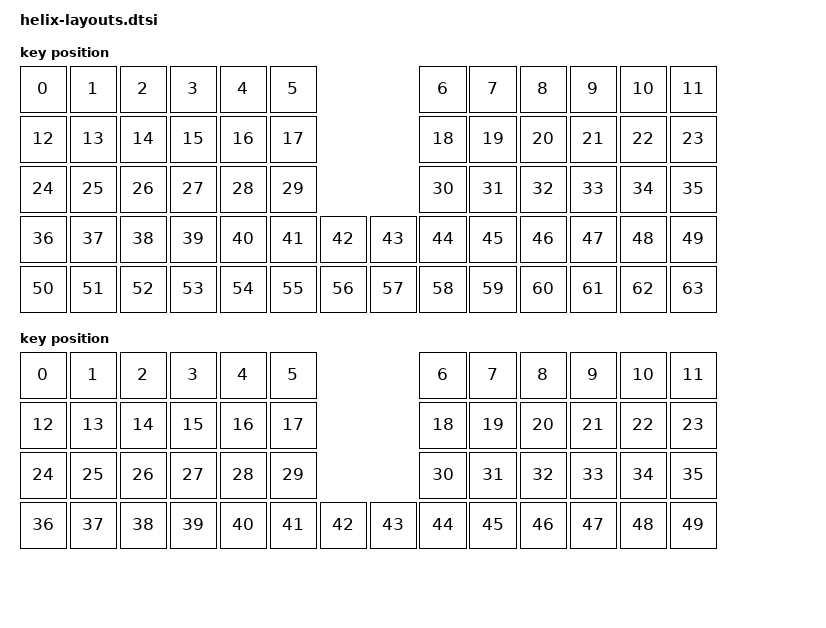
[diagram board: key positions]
#include <physical_layouts.dtsi>

/ {
     layout_0: layout_0 {
          compatible = "zmk,physical-layout";
          display-name = "LAYOUR0";
          kscan = <&kscan0>;
          transform = <&default_transform>;

          keys  //                      w   h    x    y     rot    rx    ry
               = <&key_physical_attrs 100 100    0    0       0     0     0>
               , <&key_physical_attrs 100 100  100    0       0     0     0>
               , <&key_physical_attrs 100 100  200    0       0     0     0>
               , <&key_physical_attrs 100 100  300    0       0     0     0>
               , <&key_physical_attrs 100 100  400    0       0     0     0>
               , <&key_physical_attrs 100 100  500    0       0     0     0>
               , <&key_physical_attrs 100 100  800    0       0     0     0>
               , <&key_physical_attrs 100 100  900    0       0     0     0>
               , <&key_physical_attrs 100 100 1000    0       0     0     0>
               , <&key_physical_attrs 100 100 1100    0       0     0     0>
               , <&key_physical_attrs 100 100 1200    0       0     0     0>
               , <&key_physical_attrs 100 100 1300    0       0     0     0>
               , <&key_physical_attrs 100 100    0  100       0     0     0>
               , <&key_physical_attrs 100 100  100  100       0     0     0>
               , <&key_physical_attrs 100 100  200  100       0     0     0>
               , <&key_physical_attrs 100 100  300  100       0     0     0>
               , <&key_physical_attrs 100 100  400  100       0     0     0>
               , <&key_physical_attrs 100 100  500  100       0     0     0>
               , <&key_physical_attrs 100 100  800  100       0     0     0>
               , <&key_physical_attrs 100 100  900  100       0     0     0>
               , <&key_physical_attrs 100 100 1000  100       0     0     0>
               , <&key_physical_attrs 100 100 1100  100       0     0     0>
               , <&key_physical_attrs 100 100 1200  100       0     0     0>
               , <&key_physical_attrs 100 100 1300  100       0     0     0>
               , <&key_physical_attrs 100 100    0  200       0     0     0>
               , <&key_physical_attrs 100 100  100  200       0     0     0>
               , <&key_physical_attrs 100 100  200  200       0     0     0>
               , <&key_physical_attrs 100 100  300  200       0     0     0>
               , <&key_physical_attrs 100 100  400  200       0     0     0>
               , <&key_physical_attrs 100 100  500  200       0     0     0>
               , <&key_physical_attrs 100 100  800  200       0     0     0>
               , <&key_physical_attrs 100 100  900  200       0     0     0>
               , <&key_physical_attrs 100 100 1000  200       0     0     0>
               , <&key_physical_attrs 100 100 1100  200       0     0     0>
               , <&key_physical_attrs 100 100 1200  200       0     0     0>
               , <&key_physical_attrs 100 100 1300  200       0     0     0>
               , <&key_physical_attrs 100 100    0  300       0     0     0>
               , <&key_physical_attrs 100 100  100  300       0     0     0>
               , <&key_physical_attrs 100 100  200  300       0     0     0>
               , <&key_physical_attrs 100 100  300  300       0     0     0>
               , <&key_physical_attrs 100 100  400  300       0     0     0>
               , <&key_physical_attrs 100 100  500  300       0     0     0>
               , <&key_physical_attrs 100 100  600  300       0     0     0>
               , <&key_physical_attrs 100 100  700  300       0     0     0>
               , <&key_physical_attrs 100 100  800  300       0     0     0>
               , <&key_physical_attrs 100 100  900  300       0     0     0>
               , <&key_physical_attrs 100 100 1000  300       0     0     0>
               , <&key_physical_attrs 100 100 1100  300       0     0     0>
               , <&key_physical_attrs 100 100 1200  300       0     0     0>
               , <&key_physical_attrs 100 100 1300  300       0     0     0>
               , <&key_physical_attrs 100 100    0  400       0     0     0>
               , <&key_physical_attrs 100 100  100  400       0     0     0>
               , <&key_physical_attrs 100 100  200  400       0     0     0>
               , <&key_physical_attrs 100 100  300  400       0     0     0>
               , <&key_physical_attrs 100 100  400  400       0     0     0>
               , <&key_physical_attrs 100 100  500  400       0     0     0>
               , <&key_physical_attrs 100 100  600  400       0     0     0>
               , <&key_physical_attrs 100 100  700  400       0     0     0>
               , <&key_physical_attrs 100 100  800  400       0     0     0>
               , <&key_physical_attrs 100 100  900  400       0     0     0>
               , <&key_physical_attrs 100 100 1000  400       0     0     0>
               , <&key_physical_attrs 100 100 1100  400       0     0     0>
               , <&key_physical_attrs 100 100 1200  400       0     0     0>
               , <&key_physical_attrs 100 100 1300  400       0     0     0>
               ;
     };

     layout_1: layout_1 {
          compatible = "zmk,physical-layout";
          display-name = "LAYOUR1";
          kscan = <&kscan0>;
          transform = <&default_transform>;

          keys  //                      w   h    x    y     rot    rx    ry
               = <&key_physical_attrs 100 100    0    0       0     0     0>
               , <&key_physical_attrs 100 100  100    0       0     0     0>
               , <&key_physical_attrs 100 100  200    0       0     0     0>
               , <&key_physical_attrs 100 100  300    0       0     0     0>
               , <&key_physical_attrs 100 100  400    0       0     0     0>
               , <&key_physical_attrs 100 100  500    0       0     0     0>
               , <&key_physical_attrs 100 100  800    0       0     0     0>
               , <&key_physical_attrs 100 100  900    0       0     0     0>
               , <&key_physical_attrs 100 100 1000    0       0     0     0>
               , <&key_physical_attrs 100 100 1100    0       0     0     0>
               , <&key_physical_attrs 100 100 1200    0       0     0     0>
               , <&key_physical_attrs 100 100 1300    0       0     0     0>
               , <&key_physical_attrs 100 100    0  100       0     0     0>
               , <&key_physical_attrs 100 100  100  100       0     0     0>
               , <&key_physical_attrs 100 100  200  100       0     0     0>
               , <&key_physical_attrs 100 100  300  100       0     0     0>
               , <&key_physical_attrs 100 100  400  100       0     0     0>
               , <&key_physical_attrs 100 100  500  100       0     0     0>
               , <&key_physical_attrs 100 100  800  100       0     0     0>
               , <&key_physical_attrs 100 100  900  100       0     0     0>
               , <&key_physical_attrs 100 100 1000  100       0     0     0>
               , <&key_physical_attrs 100 100 1100  100       0     0     0>
               , <&key_physical_attrs 100 100 1200  100       0     0     0>
               , <&key_physical_attrs 100 100 1300  100       0     0     0>
               , <&key_physical_attrs 100 100    0  200       0     0     0>
               , <&key_physical_attrs 100 100  100  200       0     0     0>
               , <&key_physical_attrs 100 100  200  200       0     0     0>
               , <&key_physical_attrs 100 100  300  200       0     0     0>
               , <&key_physical_attrs 100 100  400  200       0     0     0>
               , <&key_physical_attrs 100 100  500  200       0     0     0>
               , <&key_physical_attrs 100 100  800  200       0     0     0>
               , <&key_physical_attrs 100 100  900  200       0     0     0>
               , <&key_physical_attrs 100 100 1000  200       0     0     0>
               , <&key_physical_attrs 100 100 1100  200       0     0     0>
               , <&key_physical_attrs 100 100 1200  200       0     0     0>
               , <&key_physical_attrs 100 100 1300  200       0     0     0>
               , <&key_physical_attrs 100 100    0  300       0     0     0>
               , <&key_physical_attrs 100 100  100  300       0     0     0>
               , <&key_physical_attrs 100 100  200  300       0     0     0>
               , <&key_physical_attrs 100 100  300  300       0     0     0>
               , <&key_physical_attrs 100 100  400  300       0     0     0>
               , <&key_physical_attrs 100 100  500  300       0     0     0>
               , <&key_physical_attrs 100 100  600  300       0     0     0>
               , <&key_physical_attrs 100 100  700  300       0     0     0>
               , <&key_physical_attrs 100 100  800  300       0     0     0>
               , <&key_physical_attrs 100 100  900  300       0     0     0>
               , <&key_physical_attrs 100 100 1000  300       0     0     0>
               , <&key_physical_attrs 100 100 1100  300       0     0     0>
               , <&key_physical_attrs 100 100 1200  300       0     0     0>
               , <&key_physical_attrs 100 100 1300  300       0     0     0>
               ;
     };

     position_map {
          compatible = "zmk,physical-layout-position-map";

          complete;

          layout1: layout1 {
               physical-layout = <&layout_0>;
               positions
                    = < 0  1  2  3  4  5  6  7  8  9 10 11 12 13 14 15 16 17 18 19>
                    , <20 21 22 23 24 25 26 27 28 29 30 31 32 33 34 35 36 37 38 39>
                    , <40 41 42 43 44 45 46 47 48 49 50 51 52 53 54 55 56 57 58 59>
                    , <60 61 62 63>
                    ;
          };

          layout2: layout2 {
               physical-layout = <&layout_1>;
               positions
                    = < 0  1  2  3  4  5  6  7  8  9 10 11 12 13 14 15 16 17 18 19>
                    , <20 21 22 23 24 25 26 27 28 29 30 31 32 33 34 35 36 37 38 39>
                    , <40 41 42 43 44 45 46 47 48 49>
                    ;
          };
     };
};
